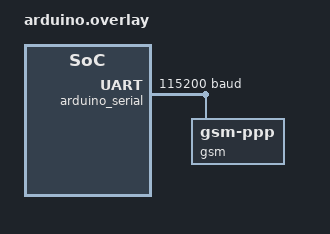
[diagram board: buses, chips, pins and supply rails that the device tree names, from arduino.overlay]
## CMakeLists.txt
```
# Copyright (c) 2018-2020 O.S.Systems
#
# SPDX-License-Identifier: Apache-2.0

cmake_minimum_required(VERSION 3.28.0)

# This application has its own Kconfig options.
set(KCONFIG_ROOT ${CMAKE_CURRENT_SOURCE_DIR}/Kconfig)

find_package(Zephyr REQUIRED HINTS $ENV{ZEPHYR_BASE})
project(updatehub)

target_sources(app PRIVATE src/main.c)

if(CONFIG_UPDATEHUB_DTLS)
  get_filename_component(root_ca ${CONFIG_UPDATEHUB_SAMPLE_ROOT_CA_FILE}
    ABSOLUTE BASE_DIR ${CMAKE_CURRENT_SOURCE_DIR}
  )
  generate_inc_file_for_target(app
    ${root_ca}
    ${ZEPHYR_BINARY_DIR}/include/generated/updatehub-root-ca.pem.inc
  )
endif()
```

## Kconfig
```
#  Copyright (c) 2018-2020 O.S.Systems
#  SPDX-License-Identifier: Apache-2.0

mainmenu "Sample app Configuration"

config UPDATEHUB_SAMPLE_MANUAL
	bool "UpdateHub manual mode"
	help
	  Manual mode requires the user to call the server probe and then, if
	  there is an available update, also requires the user to decide if
	  it is appropriate to update now or later.

if !UPDATEHUB_SAMPLE_MANUAL
config UPDATEHUB_SAMPLE_POLLING
	bool "UpdateHub polling mode"
	default y
	help
	  Polling mode runs automatically on a predefined period, probing the
	  server for updates and installing them without requiring user
	  intervention.
endif #!UPDATEHUB_SAMPLE_MANUAL

if WIFI
config UPDATEHUB_SAMPLE_WIFI_SSID
	string "WIFI SSID - Network name"
	default "my_network"
config UPDATEHUB_SAMPLE_WIFI_PSK
	string "WIFI PSK - Network password key"
	default "secret_passwd"
endif

config UPDATEHUB_SAMPLE_ROOT_CA_FILE
	string "UpdateHub root CA certificates (PEM)"
	default "src/certificates/updatehub-root-ca.pem"
	depends on UPDATEHUB_DTLS
	help
	  PEM file with the root CA certificates that may sign the UpdateHub
	  server certificate. All of them are registered as one DTLS trust
	  anchor credential. Relative paths are resolved from the sample
	  directory.

source "Kconfig.zephyr"
```

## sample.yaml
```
sample:
  description: UpdateHub enterprise-grade Firmware Over-the-Air (FOTA)
  name: UpdateHub
common:
  harness: net
  tags:
    - net
    - wifi
    - updatehub
  depends_on: netif
  build_only: true
  platform_allow: frdm_k64f
  integration_platforms:
    - frdm_k64f
tests:
  sample.net.updatehub:
    extra_configs:
      - CONFIG_UPDATEHUB_PRODUCT_UID="e4d37cfe6ec48a2d069cc0bbb8b078677e9a0d8df3a027c4d8ea131130c4265f"
      - CONFIG_UPDATEHUB_POLL_INTERVAL=1
      - CONFIG_UPDATEHUB_CE=y
      - CONFIG_UPDATEHUB_SERVER="updatehub.io"
  sample.net.updatehub.psa:
    extra_args: EXTRA_CONF_FILE="overlay-psa.conf"
    extra_configs:
      - CONFIG_UPDATEHUB_PRODUCT_UID="e4d37cfe6ec48a2d069cc0bbb8b078677e9a0d8df3a027c4d8ea131130c4265f"
      - CONFIG_UPDATEHUB_POLL_INTERVAL=1
      - CONFIG_UPDATEHUB_CE=y
      - CONFIG_UPDATEHUB_SERVER="updatehub.io"
  sample.net.updatehub.userspace:
    extra_configs:
      - CONFIG_UPDATEHUB_PRODUCT_UID="e4d37cfe6ec48a2d069cc0bbb8b078677e9a0d8df3a027c4d8ea131130c4265f"
      - CONFIG_UPDATEHUB_POLL_INTERVAL=1
      - CONFIG_UPDATEHUB_CE=y
      - CONFIG_UPDATEHUB_SERVER="updatehub.io"
      - CONFIG_USERSPACE=y
  sample.net.updatehub.dtls:
    extra_args: EXTRA_CONF_FILE="overlay-dtls.conf"
    extra_configs:
      - CONFIG_UPDATEHUB_PRODUCT_UID="e4d37cfe6ec48a2d069cc0bbb8b078677e9a0d8df3a027c4d8ea131130c4265f"
      - CONFIG_UPDATEHUB_POLL_INTERVAL=1
      - CONFIG_UPDATEHUB_CE=y
      - CONFIG_UPDATEHUB_SERVER="updatehub.io"
```

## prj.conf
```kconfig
# Copyright (c) 2018-2020 O.S.Systems
# SPDX-License-Identifier: Apache-2.0
CONFIG_FLASH=y
CONFIG_STREAM_FLASH=y
CONFIG_FLASH_MAP=y
CONFIG_REBOOT=y
CONFIG_MCUBOOT_IMG_MANAGER=y
CONFIG_IMG_MANAGER=y
CONFIG_IMG_ENABLE_IMAGE_CHECK=y
CONFIG_BOOTLOADER_MCUBOOT=y
CONFIG_MPU_ALLOW_FLASH_WRITE=y
CONFIG_NETWORKING=y
CONFIG_NET_UDP=y
CONFIG_NET_SOCKETS=y
CONFIG_COAP=y
CONFIG_DNS_RESOLVER=y
CONFIG_JSON_LIBRARY=y
CONFIG_HWINFO=y

# Turn on the updatehub
CONFIG_UPDATEHUB=y
CONFIG_COAP_INIT_ACK_TIMEOUT_MS=10000

# Heap mem pool size
CONFIG_HEAP_MEM_POOL_SIZE=8192
CONFIG_SYSTEM_WORKQUEUE_STACK_SIZE=8192

# Network events
CONFIG_NET_CONNECTION_MANAGER=y
CONFIG_NET_CONFIG_SETTINGS=y

CONFIG_NET_IPV6=n

CONFIG_NET_IPV4=y
CONFIG_NET_DHCPV4=y

# Enable Shell
CONFIG_SHELL=y
CONFIG_SHELL_STACK_SIZE=8192
CONFIG_UPDATEHUB_SHELL=y
CONFIG_NET_SHELL=y

# Debug helpers
CONFIG_LOG=y
#CONFIG_UPDATEHUB_LOG_LEVEL_DBG=y

CONFIG_MAX_THREAD_BYTES=3
```

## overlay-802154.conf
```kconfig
# Copyright (c) 2020 O.S.Systems
# SPDX-License-Identifier: Apache-2.0

# Disable default configs
CONFIG_BT=n

CONFIG_ETH_DRIVER=n

CONFIG_NET_IPV4=n
CONFIG_NET_DHCPV4=n
CONFIG_NET_TCP=n

# Enable IEEE 802.15.4
CONFIG_NET_L2_IEEE802154=y
CONFIG_NET_L2_IEEE802154_SHELL=y

CONFIG_NET_CONFIG_IEEE802154_PAN_ID=0xcafe
CONFIG_NET_CONFIG_IEEE802154_CHANNEL=26

CONFIG_NET_IPV6=y
CONFIG_NET_IPV6_FRAGMENT=y
CONFIG_NET_6LO_CONTEXT=y
CONFIG_NET_MAX_6LO_CONTEXTS=10

CONFIG_NET_IF_UNICAST_IPV6_ADDR_COUNT=3
CONFIG_NET_IF_MCAST_IPV6_ADDR_COUNT=4
CONFIG_NET_MAX_CONTEXTS=10

CONFIG_NET_UDP=y

# Add DNS Server
CONFIG_DNS_SERVER_IP_ADDRESSES=y
CONFIG_DNS_SERVER1="2001:db8::1"

# UpdateHub
CONFIG_UPDATEHUB_SERVER="2001:db8::1"
CONFIG_UPDATEHUB_COAP_BLOCK_SIZE_EXP=2
```

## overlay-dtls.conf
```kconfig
#
# Copyright (c) 2019 O.S.Systems
#
# SPDX-License-Identifier: Apache-2.0
#

CONFIG_UPDATEHUB_DTLS=y

# UpdateHub Cloud uses DTLS 1.2 with ECDSA P-256 certificates
CONFIG_MBEDTLS_CIPHERSUITE_TLS_ECDHE_ECDSA_WITH_AES_128_GCM_SHA256=y
CONFIG_PSA_WANT_ECC_SECP_R1_256=y
CONFIG_MBEDTLS_SSL_EXTENDED_MASTER_SECRET=y
# The root CA file is a PEM bundle
CONFIG_MBEDTLS_PEM_PARSE_C=y

# A handshake peaks around 10 KiB in use, but the first-fit allocator
# fragments: 16 KiB already failed with both roots on a 64-bit target
CONFIG_MBEDTLS_HEAP_SIZE=24576
CONFIG_NET_BUF_RX_COUNT=50
```

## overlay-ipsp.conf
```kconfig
# Copyright (c) 2020 O.S.Systems
# SPDX -License-Identifier: Apache-2.0

# Disable default configs
CONFIG_NET_L2_IEEE802154=n

CONFIG_NET_IPV4=n
CONFIG_NET_DHCPV4=n
CONFIG_NET_TCP=n

# Enable Bluetooth LE IPSP
CONFIG_BT=y
CONFIG_BT_SMP=y
CONFIG_BT_PERIPHERAL=y
CONFIG_BT_CENTRAL=y
CONFIG_BT_L2CAP_DYNAMIC_CHANNEL=y
CONFIG_BT_DEVICE_NAME="UpdateHub - IPSP"

CONFIG_NET_CONFIG_BT_NODE=y
CONFIG_NET_CONFIG_AUTO_INIT=y

CONFIG_NET_L2_BT=y
CONFIG_NET_L2_BT_SHELL=y

CONFIG_NET_IPV6=y
CONFIG_NET_IPV6_FRAGMENT=y
CONFIG_NET_6LO_CONTEXT=y
CONFIG_NET_MAX_6LO_CONTEXTS=10

CONFIG_NET_IF_UNICAST_IPV6_ADDR_COUNT=3
CONFIG_NET_IF_MCAST_IPV6_ADDR_COUNT=2
CONFIG_NET_MAX_CONTEXTS=10

CONFIG_NET_UDP=y

# Add DNS Server
CONFIG_DNS_SERVER_IP_ADDRESSES=y
CONFIG_DNS_SERVER1="2001:de8::1"

# UpdateHub
CONFIG_UPDATEHUB_SERVER="2001:de8::1"
CONFIG_UPDATEHUB_COAP_BLOCK_SIZE_EXP=2
```

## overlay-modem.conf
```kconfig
# Copyright (c) 2020 O.S.Systems
# SPDX-License-Identifier: Apache-2.0

# Disable default configs
CONFIG_NET_L2_ETHERNET=n

CONFIG_NET_DHCPV4=n

CONFIG_NET_CONFIG_SETTINGS=n

# UART support
CONFIG_SERIAL=y

# GSM modem support
CONFIG_MODEM=y
CONFIG_MODEM_SHELL=y
CONFIG_MODEM_GSM_PPP=y
CONFIG_MODEM_GSM_APN="<Your Access Point Network>"

# PPP networking support
CONFIG_NET_DRIVERS=y
CONFIG_NET_NATIVE=y
CONFIG_NET_PPP=y
CONFIG_NET_L2_PPP=y
CONFIG_NET_L2_PPP_TIMEOUT=10000

CONFIG_DNS_SERVER_IP_ADDRESSES=y
CONFIG_DNS_SERVER1="8.8.8.8"
```

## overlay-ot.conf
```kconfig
# Copyright (c) 2020 O.S.Systems
# SPDX-License-Identifier: Apache-2.0

# Disable default configs
CONFIG_BT=n

CONFIG_ETH_DRIVER=n
CONFIG_NET_L2_IEEE802154=n

CONFIG_NET_IPV4=n
CONFIG_NET_DHCPV4=n
CONFIG_NET_TCP=n

# Use NVS as settings backend
CONFIG_NVS=y

# Enable OpenThread network
CONFIG_NET_L2_OPENTHREAD=y

CONFIG_OPENTHREAD_DEBUG=y
CONFIG_OPENTHREAD_LOG_LEVEL_INFO=y
CONFIG_OPENTHREAD_L2_DEBUG=y
CONFIG_OPENTHREAD_L2_LOG_LEVEL_INF=y

# Enable OpenThread shell
CONFIG_SHELL=y
CONFIG_OPENTHREAD_SHELL=y

# This follows https://openthread.io/guides/border-router guides
# It uses the default values from otbr-web page
CONFIG_OPENTHREAD_PANID=4660
CONFIG_OPENTHREAD_CHANNEL=15
CONFIG_OPENTHREAD_NETWORK_NAME="OpenThreadDemo"
CONFIG_OPENTHREAD_XPANID="0x1111111122222222"
CONFIG_OPENTHREAD_JOINER=y
CONFIG_OPENTHREAD_JOINER_AUTOSTART=y
# Demo credential only, do not use in production
CONFIG_OPENTHREAD_JOINER_PSKD="J01NU5"
CONFIG_OPENTHREAD_SLAAC=y

CONFIG_NET_IPV6_NBR_CACHE=n
CONFIG_NET_IPV6_MLD=n

# Mbed TLS tweaks
CONFIG_MBEDTLS_SSL_IN_CONTENT_LEN=768
CONFIG_MBEDTLS_SSL_OUT_CONTENT_LEN=768

# UpdateHub
CONFIG_MAIN_STACK_SIZE=8192
CONFIG_UPDATEHUB_COAP_BLOCK_SIZE_EXP=2

# Only tested with 6to4
#
#######################
CONFIG_DNS_SERVER_IP_ADDRESSES=y
# Add google IPv4 DNS Server
# https://www.ultratools.com/tools/ipv4toipv6Result?address=8.8.8.8
# Mapped Address: 0:0:0:0:0:ffff:808:808
# Extract value                 >808:808<
# Add prefix        64:ff9b::
CONFIG_DNS_SERVER1="64:ff9b::808:808"
# Repeat the above step with your server IPv4 address translated to IPv6
CONFIG_UPDATEHUB_SERVER="<your server ip address>"
```

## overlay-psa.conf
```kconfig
CONFIG_FLASH_AREA_CHECK_INTEGRITY_PSA=y
CONFIG_PSA_CRYPTO=y
```

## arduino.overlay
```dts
/*
 * Copyright (c) 2020 O.S.Systems
 *
 * SPDX-License-Identifier: Apache-2.0
 */

&arduino_serial {
	status = "okay";
	current-speed = <115200>;
	gsm: gsm-modem {
		compatible = "zephyr,gsm-ppp";
	};
};
```

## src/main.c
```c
/*
 * Copyright (c) 2018-2023 O.S.Systems
 *
 * SPDX-License-Identifier: Apache-2.0
 */

#include <zephyr/kernel.h>
#include <zephyr/mgmt/updatehub.h>
#include <zephyr/net/net_mgmt.h>
#include <zephyr/net/net_event.h>
#include <zephyr/net/conn_mgr_monitor.h>

#ifdef CONFIG_NET_L2_WIFI_MGMT
#include <zephyr/net/wifi_mgmt.h>
#endif /* CONFIG_NET_L2_WIFI_MGMT */

#if defined(CONFIG_UPDATEHUB_DTLS)
#include <zephyr/net/tls_credentials.h>
#include "c_certificates.h"
#endif

#include <zephyr/logging/log.h>
LOG_MODULE_REGISTER(main);

#define EVENT_MASK (NET_EVENT_L4_CONNECTED | \
		    NET_EVENT_L4_DISCONNECTED)

static struct net_mgmt_event_callback mgmt_cb;

void start_updatehub(void)
{
#if defined(CONFIG_UPDATEHUB_SAMPLE_POLLING)
	LOG_INF("Starting UpdateHub polling mode");
	updatehub_autohandler();
#endif

#if defined(CONFIG_UPDATEHUB_SAMPLE_MANUAL)
	LOG_INF("Starting UpdateHub manual mode");

	switch (updatehub_probe()) {
	case UPDATEHUB_HAS_UPDATE:
		switch (updatehub_update()) {
		case UPDATEHUB_OK:
			ret = 0;
			updatehub_reboot();
			break;

		default:
			LOG_ERR("Error installing update.");
			break;
		}

	case UPDATEHUB_NO_UPDATE:
		LOG_INF("No update found");
		ret = 0;
		break;

	default:
		LOG_ERR("Invalid response");
		break;
	}
#endif
}

static void event_handler(struct net_mgmt_event_callback *cb,
			  uint64_t mgmt_event, struct net_if *iface)
{
	if ((mgmt_event & EVENT_MASK) != mgmt_event) {
		return;
	}

	if (mgmt_event == NET_EVENT_L4_CONNECTED) {
		LOG_INF("Network connected");
		start_updatehub();
		return;
	}

	if (mgmt_event == NET_EVENT_L4_DISCONNECTED) {
		LOG_INF("Network disconnected");
		return;
	}
}

int main(void)
{
	int ret;

	LOG_INF("UpdateHub sample app started");

#if defined(CONFIG_UPDATEHUB_DTLS)
	if (tls_credential_add(CONFIG_UPDATEHUB_DTLS_SEC_TAG, TLS_CREDENTIAL_CA_CERTIFICATE,
			       updatehub_root_ca, sizeof(updatehub_root_ca)) < 0) {
		LOG_ERR("Failed to register the UpdateHub root CA");
		return 0;
	}
#endif

	/* The image of application needed be confirmed */
	LOG_INF("Confirming the boot image");
	ret = updatehub_confirm();
	if (ret < 0) {
		LOG_ERR("Error to confirm the image");
	}

#if defined(CONFIG_WIFI)
	int nr_tries = 10;
	struct net_if *iface = net_if_get_default();
	static struct wifi_connect_req_params cnx_params = {
		.ssid = CONFIG_UPDATEHUB_SAMPLE_WIFI_SSID,
		.ssid_length = 0,
		.psk = CONFIG_UPDATEHUB_SAMPLE_WIFI_PSK,
		.psk_length = 0,
		.channel = 0,
		.security = WIFI_SECURITY_TYPE_PSK,
	};

	cnx_params.ssid_length = strlen(CONFIG_UPDATEHUB_SAMPLE_WIFI_SSID);
	cnx_params.psk_length = strlen(CONFIG_UPDATEHUB_SAMPLE_WIFI_PSK);

	/* Let's wait few seconds to allow wifi device be on-line */
	while (nr_tries-- > 0) {
		ret = net_mgmt(NET_REQUEST_WIFI_CONNECT, iface, &cnx_params,
			       sizeof(struct wifi_connect_req_params));
		if (ret == 0) {
			break;
		}

		LOG_INF("Connect request failed %d. Waiting iface be up...", ret);
		k_msleep(500);
	}
#endif

	net_mgmt_init_event_callback(&mgmt_cb, event_handler, EVENT_MASK);
	net_mgmt_add_event_callback(&mgmt_cb);
	conn_mgr_mon_resend_status();
	return 0;
}
```

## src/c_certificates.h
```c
/*
 * Copyright (c) 2019 O.S.Systems
 *
 * SPDX-License-Identifier: Apache-2.0
 */

#ifndef __CERTIFICATE_H__
#define __CERTIFICATE_H__

#if defined(CONFIG_UPDATEHUB_DTLS)
/* Mbed TLS only parses PEM, and so more than one certificate, from a
 * NUL-terminated buffer.
 */
static const unsigned char updatehub_root_ca[] = {
#include "updatehub-root-ca.pem.inc"
0x00
};
#endif

#endif /* __CERTIFICATE_H__ */
```
